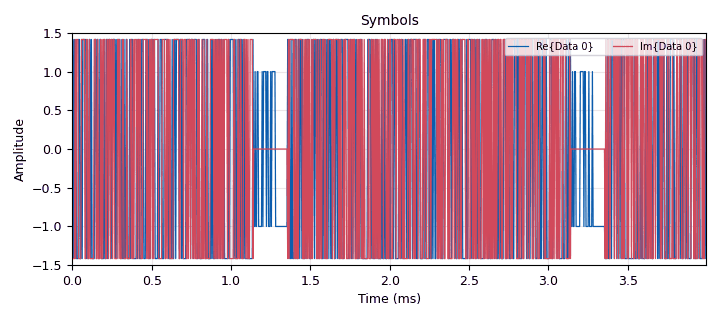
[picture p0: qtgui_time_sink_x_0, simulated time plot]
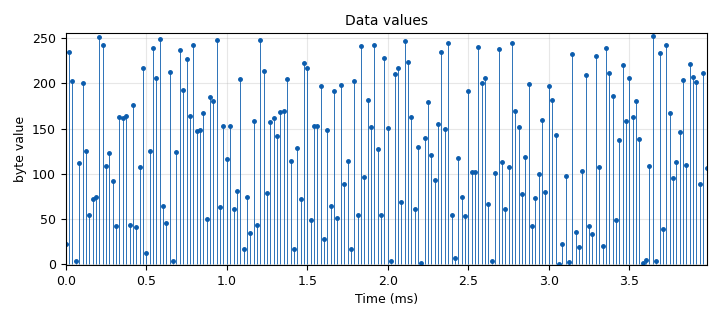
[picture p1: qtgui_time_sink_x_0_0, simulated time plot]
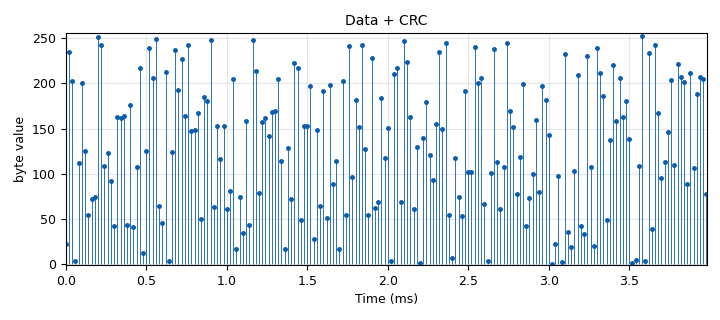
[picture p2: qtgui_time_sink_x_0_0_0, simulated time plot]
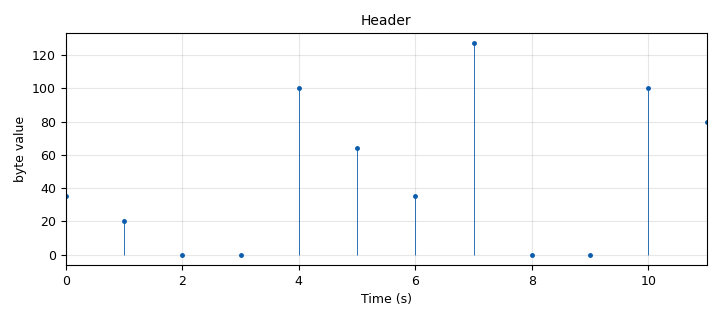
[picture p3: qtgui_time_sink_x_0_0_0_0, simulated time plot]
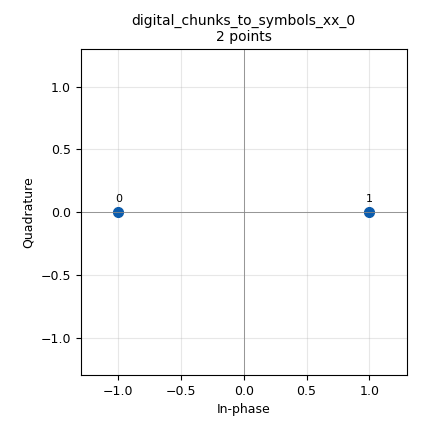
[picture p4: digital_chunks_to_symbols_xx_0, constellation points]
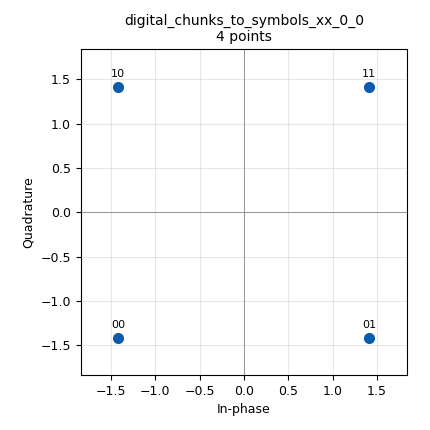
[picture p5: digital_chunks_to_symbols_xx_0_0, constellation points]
options:
  parameters:
    category: Custom
    description: Example of an packetization for OFDM transmitter
    generate_options: qt_gui
    id: tx1
    output_language: python
    run_options: run
    title: OFDM Tx Packet Structure
  states: {}

blocks:
- name: bytes_per_pkt
  id: variable
  parameters:
    value: '96'
  states: {}
- name: data_crc_rate
  id: variable
  parameters:
    value: packet_rate*bytes_per_pkt*(bytes_per_pkt+4)/bytes_per_pkt
  states: {}
- name: hdr_format
  id: variable
  parameters:
    value: digital.header_format_ofdm(occupied_carriers, 1, length_tag_key,)
  states: {}
- name: header_formatter
  id: variable
  parameters:
    value: digital.packet_header_ofdm(occupied_carriers, n_syms=1, len_tag_key=length_tag_key, frame_len_tag_key=length_tag_key, bits_per_header_sym=header_mod.bits_per_symbol(), bits_per_payload_sym=payload_mod.bits_per_symbol(), scramble_header=False)
  states: {state: disabled}
- name: header_mod
  id: variable
  parameters:
    value: digital.constellation_bpsk()
  states: {}
- name: length_tag_key
  id: variable
  parameters:
    value: '"packet_len"'
  states: {}
- name: observed_reps
  id: variable
  parameters:
    value: '2'
  states: {}
- name: occupied_carriers
  id: variable
  parameters:
    value: (list(range(-26, -21)) + list(range(-20, -7)) + list(range(-6, 0)) + list(range(1, 7)) + list(range(8, 21)) + list(range(22, 27)),)
  states: {}
- name: packet_rate
  id: variable
  parameters:
    value: '500'
  states: {}
- name: payload_mod
  id: variable
  parameters:
    value: digital.constellation_qpsk()
  states: {}
- name: pilot_carriers
  id: variable
  parameters:
    value: ((-21, -7, 7, 21,),)
  states: {}
- name: pilot_symbols
  id: variable
  parameters:
    value: ((1, 1, 1, -1,),)
  states: {}
- name: symbol_rate
  id: variable
  parameters:
    value: packet_rate*symbols_per_packet
  states: {}
- name: symbols_per_packet
  id: variable
  parameters:
    value: int((8*(bytes_per_pkt+4)/2 + 48))
  states: {}
- name: analog_random_source_x_0
  id: analog_random_source_x
  parameters:
    max: '255'
    min: '0'
    num_samps: '1000'
    repeat: 'True'
    type: byte
  states: {}
- name: blocks_repack_bits_bb_0
  id: blocks_repack_bits_bb
  parameters:
    endianness: gr.GR_LSB_FIRST
    k: '8'
    l: payload_mod.bits_per_symbol()
    len_tag_key: length_tag_key
  states: {}
- name: blocks_repack_bits_bb_0_0
  id: blocks_repack_bits_bb
  parameters:
    endianness: gr.GR_LSB_FIRST
    k: '8'
    l: '1'
    len_tag_key: length_tag_key
  states: {}
- name: blocks_repack_bits_bb_1
  id: blocks_repack_bits_bb
  parameters:
    endianness: gr.GR_LSB_FIRST
    k: '1'
    l: '8'
  states: {state: disabled}
- name: blocks_stream_to_tagged_stream_0
  id: blocks_stream_to_tagged_stream
  parameters:
    len_tag_key: length_tag_key
    packet_len: bytes_per_pkt
    type: byte
  states: {}
- name: blocks_tagged_stream_mux_0
  id: blocks_tagged_stream_mux
  parameters:
    lengthtagname: length_tag_key
    ninputs: '2'
    type: complex
  states: {}
- name: blocks_throttle_0_0
  id: blocks_throttle
  parameters:
    samples_per_second: symbol_rate
    type: complex
  states: {}
- name: blocks_uchar_to_float_0
  id: blocks_uchar_to_float
  parameters: {}
  states: {}
- name: blocks_uchar_to_float_0_0
  id: blocks_uchar_to_float
  parameters: {}
  states: {}
- name: blocks_uchar_to_float_0_0_0
  id: blocks_uchar_to_float
  parameters: {}
  states: {}
- name: digital_chunks_to_symbols_xx_0
  id: digital_chunks_to_symbols_xx
  parameters:
    dimension: '1'
    in_type: byte
    out_type: complex
    symbol_table: header_mod.points()
  states: {}
- name: digital_chunks_to_symbols_xx_0_0
  id: digital_chunks_to_symbols_xx
  parameters:
    dimension: '1'
    in_type: byte
    out_type: complex
    symbol_table: payload_mod.points()
  states: {}
- name: digital_crc32_bb_0
  id: digital_crc32_bb
  parameters:
    check: 'False'
    lengthtagname: length_tag_key
    packed: 'True'
  states: {}
- name: digital_packet_headergenerator_bb_0
  id: digital_packet_headergenerator_bb
  parameters:
    header_formatter: header_formatter.base()
    len_tag_key: length_tag_key
  states: {state: disabled}
- name: digital_protocol_formatter_bb_0
  id: digital_protocol_formatter_bb
  parameters:
    format: hdr_format
    len_tag_key: length_tag_key
  states: {}
- name: header_bits
  id: virtual_sink
  parameters:
    stream_id: Header Bits
  states: {}
- name: note_0
  id: note
  parameters:
    note: This flowgraph demonstrates the two different methods of generating the packet header.
  states: {}
- name: qtgui_time_sink_x_0
  id: qtgui_time_sink_x
  parameters:
    gui_hint: 3,0,1,1
    name: '"Symbols"'
    size: observed_reps*symbols_per_packet
    srate: symbol_rate
    type: complex
    ymax: '1.5'
    ymin: '-1.5'
  states: {}
- name: qtgui_time_sink_x_0_0
  id: qtgui_time_sink_x
  parameters:
    gui_hint: 0,0,1,1
    name: '"Data values"'
    size: observed_reps*bytes_per_pkt
    srate: packet_rate*bytes_per_pkt
    stemplot: 'True'
    type: float
    ylabel: byte value
    ymax: '256'
  states: {}
- name: qtgui_time_sink_x_0_0_0
  id: qtgui_time_sink_x
  parameters:
    gui_hint: 1,0,1,1
    name: '"Data + CRC"'
    size: observed_reps*(bytes_per_pkt+4)
    srate: data_crc_rate
    stemplot: 'True'
    type: float
    ylabel: byte value
    ymax: '256'
  states: {}
- name: qtgui_time_sink_x_0_0_0_0
  id: qtgui_time_sink_x
  parameters:
    autoscale: 'True'
    gui_hint: 2,0,1,1
    name: '"Header"'
    size: observed_reps*(6)
    srate: '1'
    stemplot: 'True'
    type: float
    ylabel: byte value
    ymax: '256'
  states: {}
- name: virtual_sink_0_0
  id: virtual_sink
  parameters:
    stream_id: Payload Bits
  states: {}
- name: virtual_source_0
  id: virtual_source
  parameters:
    stream_id: Header Bits
  states: {}
- name: virtual_source_0_0
  id: virtual_source
  parameters:
    stream_id: Payload Bits
  states: {}

connections:
- [analog_random_source_x_0, '0', blocks_stream_to_tagged_stream_0, '0']
- [blocks_repack_bits_bb_0, '0', virtual_sink_0_0, '0']
- [blocks_repack_bits_bb_0_0, '0', header_bits, '0']
- [blocks_repack_bits_bb_1, '0', blocks_uchar_to_float_0_0_0, '0']
- [blocks_stream_to_tagged_stream_0, '0', blocks_uchar_to_float_0, '0']
- [blocks_stream_to_tagged_stream_0, '0', digital_crc32_bb_0, '0']
- [blocks_tagged_stream_mux_0, '0', blocks_throttle_0_0, '0']
- [blocks_throttle_0_0, '0', qtgui_time_sink_x_0, '0']
- [blocks_uchar_to_float_0, '0', qtgui_time_sink_x_0_0, '0']
- [blocks_uchar_to_float_0_0, '0', qtgui_time_sink_x_0_0_0, '0']
- [blocks_uchar_to_float_0_0_0, '0', qtgui_time_sink_x_0_0_0_0, '0']
- [digital_chunks_to_symbols_xx_0, '0', blocks_tagged_stream_mux_0, '0']
- [digital_chunks_to_symbols_xx_0_0, '0', blocks_tagged_stream_mux_0, '1']
- [digital_crc32_bb_0, '0', blocks_repack_bits_bb_0, '0']
- [digital_crc32_bb_0, '0', blocks_uchar_to_float_0_0, '0']
- [digital_crc32_bb_0, '0', digital_packet_headergenerator_bb_0, '0']
- [digital_crc32_bb_0, '0', digital_protocol_formatter_bb_0, '0']
- [digital_packet_headergenerator_bb_0, '0', blocks_repack_bits_bb_1, '0']
- [digital_packet_headergenerator_bb_0, '0', header_bits, '0']
- [digital_protocol_formatter_bb_0, '0', blocks_repack_bits_bb_0_0, '0']
- [digital_protocol_formatter_bb_0, '0', blocks_uchar_to_float_0_0_0, '0']
- [virtual_source_0, '0', digital_chunks_to_symbols_xx_0, '0']
- [virtual_source_0_0, '0', digital_chunks_to_symbols_xx_0_0, '0']

metadata:
  file_format: 1
